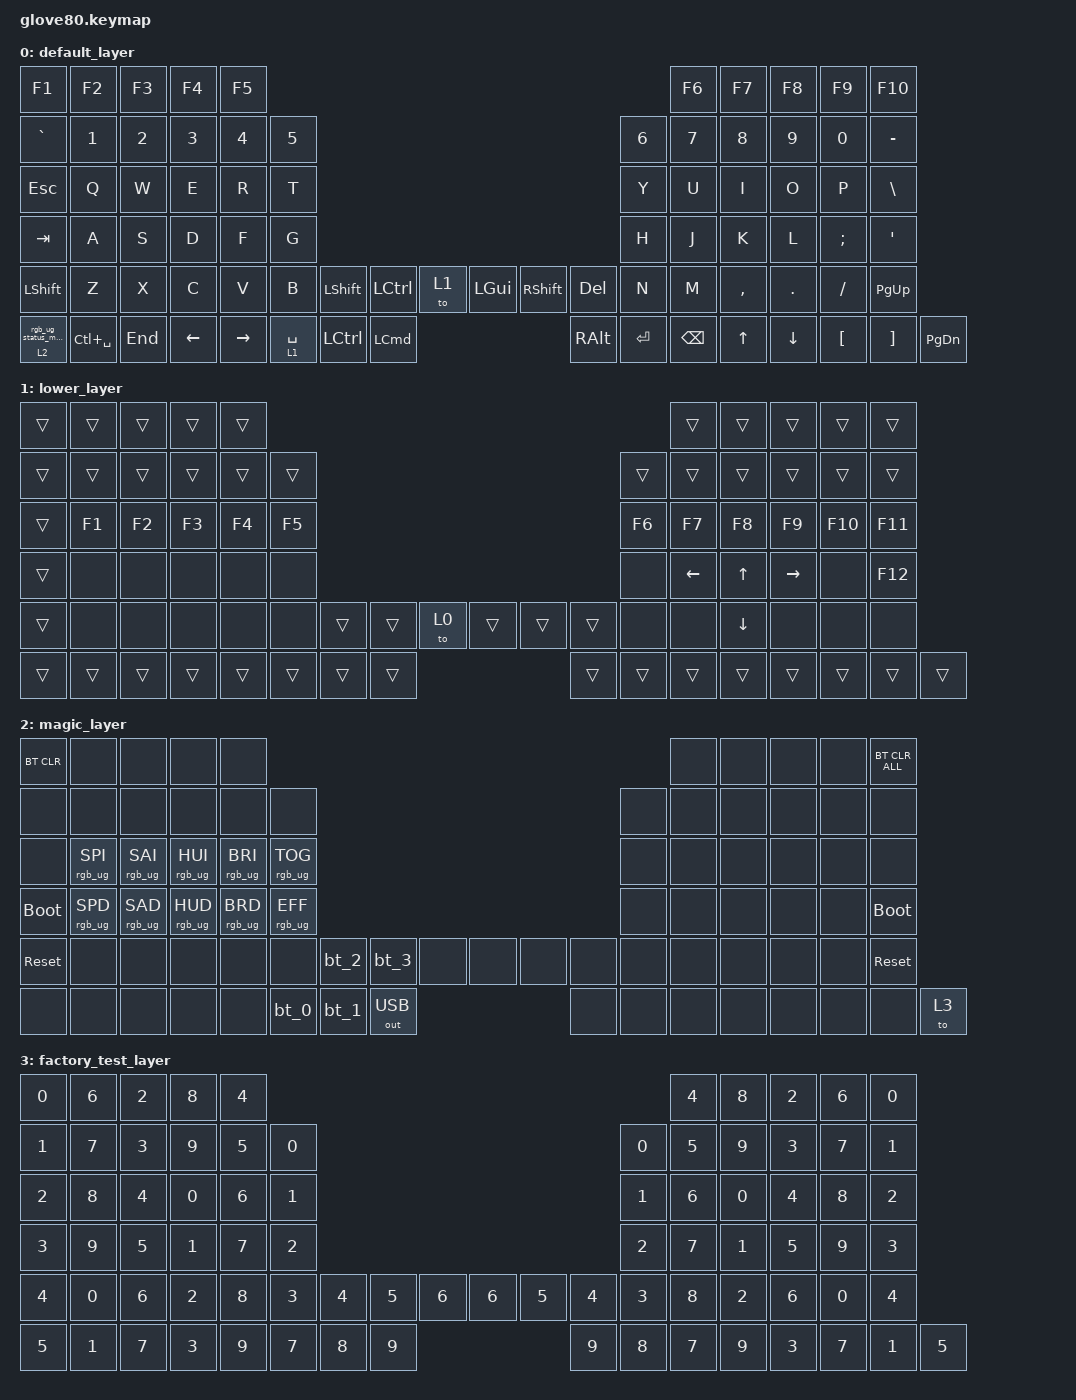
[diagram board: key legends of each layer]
/*
 * Copyright (c) 2020 The ZMK Contributors
 *
 * SPDX-License-Identifier: MIT
 */

#include <behaviors.dtsi>
#include <dt-bindings/zmk/bt.h>
#include <dt-bindings/zmk/keys.h>
#include <dt-bindings/zmk/outputs.h>
#include <dt-bindings/zmk/rgb.h>

#define HYPER LC(LS(LG(LALT)))

// layers

#define DEFAULT 0
#define LOWER 1
#define MAGIC 2
#define FACTORY_TEST 3

/ {
    behaviors {
        // For the "layer" key, it'd nice to be able to use it as either a shift or a toggle.
        // Configure it as a tap dance, so the first tap (or hold) is a &mo and the second tap is a &to

        layer_td: tap_dance_0 {
            compatible = "zmk,behavior-tap-dance";
            label = "LAYER_TAP_DANCE";
            #binding-cells = <0>;
            tapping-term-ms = <200>;
            bindings = <&mo 1>, <&to 1>;
        };

        magic: magic_hold_tap {
            compatible = "zmk,behavior-hold-tap";
            label = "MAGIC_HOLD_TAP";
            #binding-cells = <2>;
            flavor = "tap-preferred";
            tapping-term-ms = <200>;
            bindings = <&mo>, <&rgb_ug_status_macro>;
        };
    };

    macros {
        rgb_ug_status_macro: rgb_ug_status_macro_0 {
            label = "RGB_UG_STATUS";
            compatible = "zmk,behavior-macro";
            #binding-cells = <0>;
            bindings = <&rgb_ug RGB_STATUS>;
        };

        bt_0: bt_profile_macro_0 {
            label = "BT_0";
            compatible = "zmk,behavior-macro";
            #binding-cells = <0>;
            bindings = <&out OUT_BLE &bt BT_SEL 0>;
        };

        bt_1: bt_profile_macro_1 {
            label = "BT_1";
            compatible = "zmk,behavior-macro";
            #binding-cells = <0>;
            bindings = <&out OUT_BLE &bt BT_SEL 1>;
        };

        bt_2: bt_profile_macro_2 {
            label = "BT_2";
            compatible = "zmk,behavior-macro";
            #binding-cells = <0>;
            bindings = <&out OUT_BLE &bt BT_SEL 2>;
        };

        bt_3: bt_profile_macro_3 {
            label = "BT_3";
            compatible = "zmk,behavior-macro";
            #binding-cells = <0>;
            bindings = <&out OUT_BLE &bt BT_SEL 3>;
        };
    };

    keymap {
        compatible = "zmk,keymap";

        default_layer {
            // ---------------------------------------------------------------------------------------------------------------------------------
            // |  F1   |  F2 |  F3 |  F4  |  F5  |                                                               |  F6   |  F7   |  F8  |   F9  |  F10 |
            // |  =    |  1  |  2  |  3   |  4   |  5   |                                                 |  6   |   7   |   8   |  9   |   0   |   -  |
            // |  TAB  |  Q  |  W  |  E   |  R   |  T   |                                                 |  Y   |   U   |   I   |  O   |   P   |   \  |
            // |  ESC  |  A  |  S  |  D   |  F   |  G   |                                                 |  H   |   J   |   K   |  L   |   ;   |   '  |
            // |   `   |  Z  |  X  |  C   |  V   |  B   | LSHFT | LCTRL | LOWER | | LGUI  | RCTRL | RSHFT |  N   |   M   |   ,   |  .   |   /   | PGUP |
            // | MAGIC | HOME| END | LEFT | RIGHT|      | BSPC  | DEL   | LALT  | | RALT  | RET   | SPACE |      |  UP   | DOWN  |  [   |   ]   | PGDN |

            bindings = <
&kp F1      &kp F2    &kp F3   &kp F4    &kp F5                                                                                                 &kp F6  &kp F7     &kp F8    &kp F9    &kp F10
&kp GRAVE   &kp N1    &kp N2   &kp N3    &kp N4     &kp N5                                                                              &kp N6  &kp N7  &kp N8     &kp N9    &kp N0    &kp MINUS
&kp ESC     &kp Q     &kp W    &kp E     &kp R      &kp T                                                                               &kp Y   &kp U   &kp I      &kp O     &kp P     &kp BSLH
&kp TAB     &kp A     &kp S    &kp D     &kp F      &kp G                                                                               &kp H   &kp J   &kp K      &kp L     &kp SEMI  &kp SQT
&kp LSHFT   &kp Z     &kp X    &kp C     &kp V      &kp B   &kp LSHFT    &kp LCTRL  &to 1     &kp LGUI  &kp RIGHT_SHIFT  &kp DELETE     &kp N   &kp M   &kp COMMA  &kp DOT   &kp FSLH  &kp PG_UP
&magic 2 0  &kp LC(SPACE)  &kp END  &kp LEFT  &kp RIGHT          &lt 1 SPACE  &kp LCTRL  &kp LCMD  &kp RALT  &kp ENTER        &kp BACKSPACE          &kp UP  &kp DOWN   &kp LBKT  &kp RBKT  &kp PG_DN
            >;
        };

        lower_layer {
            bindings = <
&trans     &trans     &trans     &trans     &trans                                                                                             &trans     &trans     &trans     &trans     &trans
&trans     &trans     &trans     &trans     &trans     &trans                                                                       &trans     &trans     &trans     &trans     &trans     &trans
&trans     &kp F1     &kp F2     &kp F3     &kp F4     &kp F5                                                                       &kp F6     &kp F7     &kp F8     &kp F9     &kp F10    &kp F11
&trans     &none      &none      &none      &none      &none                                                                        &none      &kp LEFT   &kp UP     &kp RIGHT  &none      &kp F12
&trans     &none      &none      &none      &none      &none      &trans     &trans     &to 0      &trans     &trans     &trans     &none      &none      &kp DOWN   &none      &none      &none
&trans     &trans     &trans     &trans     &trans                &trans     &trans     &trans     &trans     &trans     &trans                &trans     &trans     &trans     &trans     &trans
            >;
        };

        magic_layer {
            bindings = <
&bt BT_CLR   &none            &none            &none            &none                                                                                     &none  &none  &none  &none  &bt BT_CLR_ALL
&none        &none            &none            &none            &none            &none                                                             &none  &none  &none  &none  &none  &none
&none        &rgb_ug RGB_SPI  &rgb_ug RGB_SAI  &rgb_ug RGB_HUI  &rgb_ug RGB_BRI  &rgb_ug RGB_TOG                                                   &none  &none  &none  &none  &none  &none
&bootloader  &rgb_ug RGB_SPD  &rgb_ug RGB_SAD  &rgb_ug RGB_HUD  &rgb_ug RGB_BRD  &rgb_ug RGB_EFF                                                   &none  &none  &none  &none  &none  &bootloader
&sys_reset   &none            &none            &none            &none            &none            &bt_2  &bt_3  &none         &none  &none  &none  &none  &none  &none  &none  &none  &sys_reset
&none        &none            &none            &none            &none                             &bt_0  &bt_1  &out OUT_USB  &none  &none  &none         &none  &none  &none  &none  &to 3
            >;
        };

        factory_test_layer {
            bindings = <
&kp N0  &kp N6  &kp N2  &kp N8  &kp N4                                                                  &kp N4  &kp N8  &kp N2  &kp N6  &kp N0
&kp N1  &kp N7  &kp N3  &kp N9  &kp N5  &kp N0                                                  &kp N0  &kp N5  &kp N9  &kp N3  &kp N7  &kp N1
&kp N2  &kp N8  &kp N4  &kp N0  &kp N6  &kp N1                                                  &kp N1  &kp N6  &kp N0  &kp N4  &kp N8  &kp N2
&kp N3  &kp N9  &kp N5  &kp N1  &kp N7  &kp N2                                                  &kp N2  &kp N7  &kp N1  &kp N5  &kp N9  &kp N3
&kp N4  &kp N0  &kp N6  &kp N2  &kp N8  &kp N3  &kp N4  &kp N5  &kp N6  &kp N6  &kp N5  &kp N4  &kp N3  &kp N8  &kp N2  &kp N6  &kp N0  &kp N4
&kp N5  &kp N1  &kp N7  &kp N3  &kp N9          &kp N7  &kp N8  &kp N9  &kp N9  &kp N8  &kp N7          &kp N9  &kp N3  &kp N7  &kp N1  &kp N5
            >;
        };
    };
};
